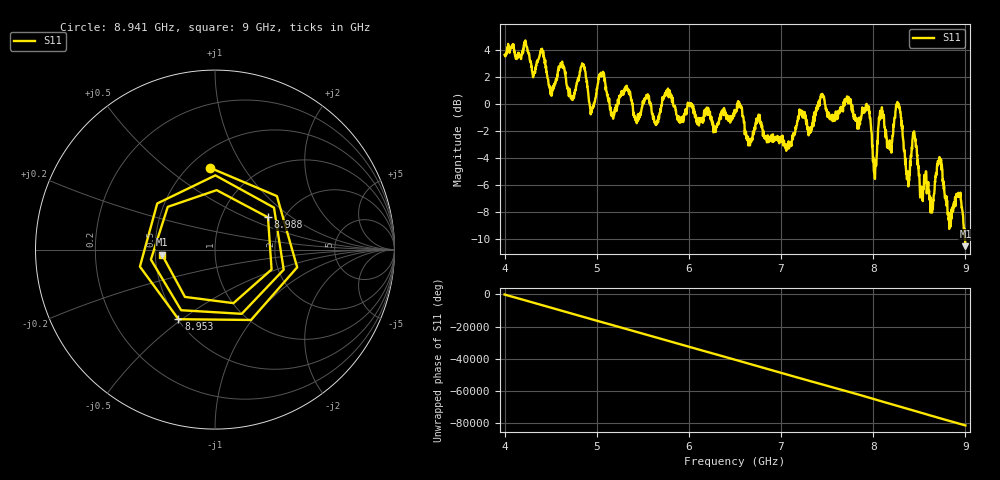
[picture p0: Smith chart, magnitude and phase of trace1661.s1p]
! Created with skrf 1.8.0 (http://scikit-rf.org).
# Hz S RI R 50.0
!freq ReS11 ImS11
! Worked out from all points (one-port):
!   1601 points, 4 GHz to 9 GHz, reference 50 ohm
!   lowest |S11| = -10.6 dB at 9 GHz (marker M1), VSWR 1.84, Z = 27.2 - j1.73 ohm
!   |S11| at or under -10 dB: 8.993882 GHz to end of sweep
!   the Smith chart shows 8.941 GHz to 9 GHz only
!   S11 on the Smith chart (normalised r, x): 8.941 GHz: 0.62, +0.72; 8.953 GHz: 0.51, -0.49; 8.988 GHz: 1.66, +0.68; 9 GHz: 0.54, -0.03
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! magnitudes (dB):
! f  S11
! 4 GHz  3.7
! 4.406 GHz  4.1
! 4.506 GHz  0.7
! 4.625 GHz  3.2
! 4.734 GHz  0.4
! 4.853 GHz  2.9
! 4.941 GHz  -0.5
! 5.053 GHz  2.3
! 5.166 GHz  -0.9
! 5.25 GHz  0.6
! 5.875 GHz  -1.0
! 6.5 GHz  -0.6
! 7.125 GHz  -2.5
! 7.75 GHz  0.0
! 7.944 GHz  -0.4
! 8.016 GHz  -5.5
! 8.078 GHz  -0.7
! 8.175 GHz  -3.3
! 8.272 GHz  0.1
! 8.375 GHz  -5.5
! 8.447 GHz  -2.2
! 8.628 GHz  -7.5
! 8.719 GHz  -3.9
! 8.831 GHz  -8.1
! 8.941 GHz  -6.8
! 8.953 GHz  -7.2
! 8.988 GHz  -9.2
! 9 GHz  -10.6
